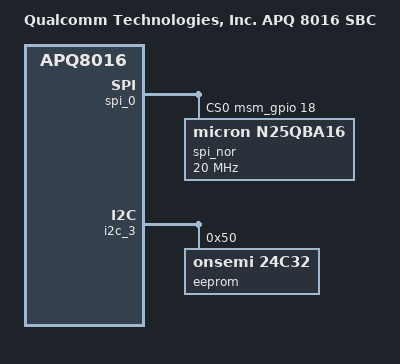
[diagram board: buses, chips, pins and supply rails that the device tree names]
/* Copyright (c) 2015, The Linux Foundation. All rights reserved.
*
* This program is free software; you can redistribute it and/or modify
* it under the terms of the GNU General Public License version 2 and
* only version 2 as published by the Free Software Foundation.
*
* This program is distributed in the hope that it will be useful,
* but WITHOUT ANY WARRANTY; without even the implied warranty of
* MERCHANTABILITY or FITNESS FOR A PARTICULAR PURPOSE.  See the
* GNU General Public License for more details.
*/

/dts-v1/;

#include "apq8016.dtsi"
#include "apq8016-sbc.dtsi"


/ {
	model = "Qualcomm Technologies, Inc. APQ 8016 SBC";
	compatible = "qcom,apq8016", "qcom,sbc";
	qcom,msm-id = <206 0>, <247 0>;
	qcom,board-id = <24 0>;

};

/* ROM-EG70 */
&spi_0 {
	cs-gpios = <&msm_gpio 18 0x0>;
	spi_nor: m25p80@0 {
		compatible = "micron,n25qba16";
		spi-max-frequency = <20000000>;
		reg = <0>;
	};
};

&i2c_3 {
	eeprom: 24c32@50 {
		compatible = "onsemi,24c32";
		reg = <0x50>;
	};
};
